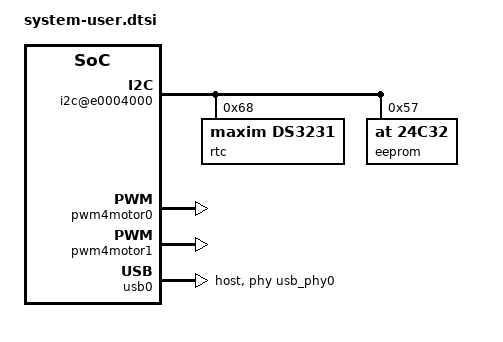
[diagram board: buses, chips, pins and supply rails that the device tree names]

/ {
	amba {
        	i2c@e0004000{
		        	rtc@68 {
			        	compatible = "maxim,ds3231";
			        	reg = <0x68>;
		        	};

				eeprom: eeprom@57 {
        				compatible = "at,24c32";
        				reg = <0x57>;
				};

        	};								 
	};

	amba_pl {
		pwm4motor0:pwm4motor@43C00000  {
		compatible = "sam_solutions,pwm4motor0";
		reg = <0x43C00000 0x10000>;	
		};

		pwm4motor1:pwm4motor@43C10000  {
		compatible = "sam_solutions,pwm4motor1";
		reg = <0x43C10000 0x10000>;	
		};

		my1timer_instance: my1timer@42800000 {
		compatible = "sam_solutions,my1timer";
		reg = <0x42800000 0x10000>;
	    interrupts = <0x0 0x1d 0x04>;
        interrupt-parent = <&intc>;
		};

		my1led:my1led@41200000  {
		compatible = "sam_solutions,my1led";
		reg = <0x41200000 0x10000>;
		};

		my1ultrasound:my1ultrasound@43C20000
		{
		compatible = "sam_solutions,my1ultrasound";
		reg = <0x43C20000 0x10000>;
	    interrupts = <0x0 0x1e 0x04>;
        interrupt-parent = <&intc>;
		};
	};


};

/ {
 usb_phy0: usb_phy@0 {
  compatible = "ulpi-phy";
  #phy-cells = <0>;
  reg = <0xe0002000 0x1000>;
  view-port = <0x0170>;
  drv-vbus;
 };
};
&usb0 {
 dr_mode = "host";
 usb-phy = <&usb_phy0>;
};
